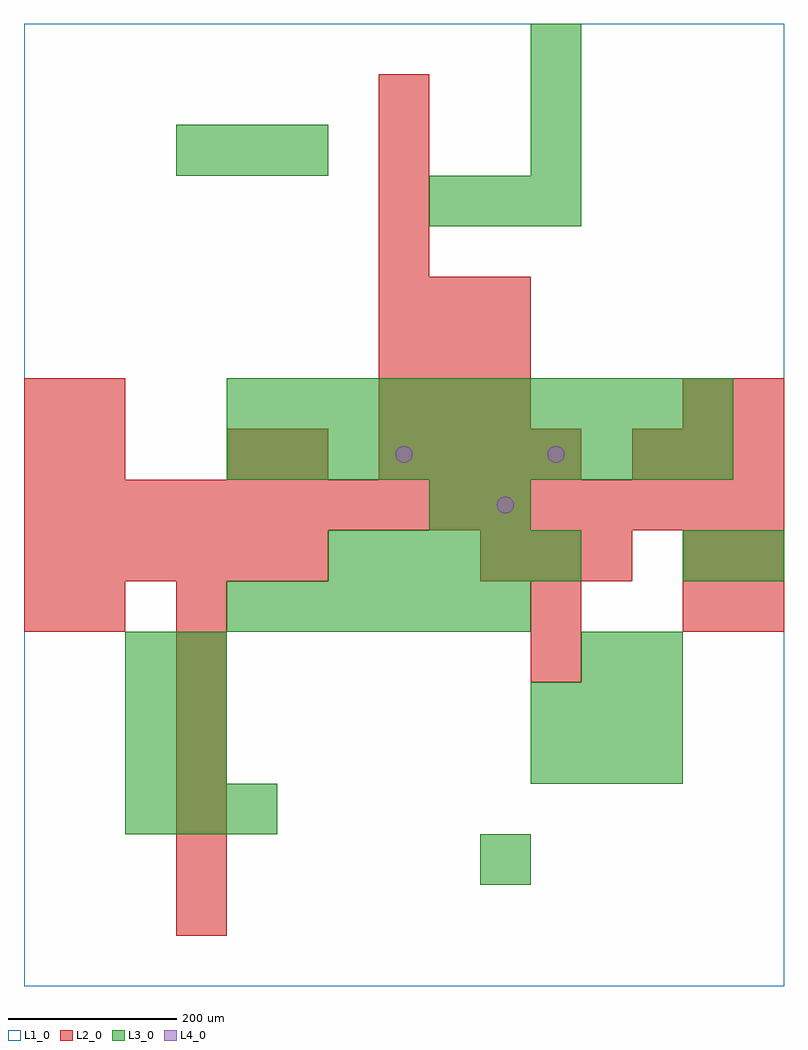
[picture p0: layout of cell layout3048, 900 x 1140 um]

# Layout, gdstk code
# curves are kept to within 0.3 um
import gdstk
lib = gdstk.Library(unit=1e-6, precision=1e-09)
def R(c, l, rs):  # rectangles x0, y0, x1, y1
    for r in rs: c.add(gdstk.rectangle(r[:2], r[2:], *l))
def A(c, l, x, y, w, h, nx, ny, dx, dy):  # array of equal rectangles
    R(c, l, [(x+i*dx, y+j*dy, x+i*dx+w, y+j*dy+h) for i in range(nx) for j in range(ny)])
def P(c, l, *ps):  # polygons
    for p in ps: c.add(gdstk.Polygon(p, *l))
L1_0 = (1, 0)
L2_0 = (2, 0)
L3_0 = (3, 0)
L4_0 = (4, 0)

layout3048 = lib.new_cell('layout3048')
R(layout3048, L1_0, [(0,0,900,1140)])
A(layout3048, L2_0, 180, 60, 60, 60, 1, 7, 0, 60)
A(layout3048, L2_0, 0, 480, 60, 60, 6, 1, 60, 0)
A(layout3048, L2_0, 540, 480, 60, 60, 3, 1, 60, 0)
A(layout3048, L2_0, 0, 540, 60, 60, 15, 1, 60, 0)
A(layout3048, L2_0, 420, 600, 60, 60, 4, 1, 60, 0)
A(layout3048, L2_0, 720, 600, 60, 60, 3, 1, 60, 0)
A(layout3048, L2_0, 420, 660, 60, 60, 3, 3, 60, 60)
A(layout3048, L2_0, 420, 840, 60, 60, 1, 4, 0, 60)
R(layout3048, L2_0, [(600,360,660,420), (0,420,60,480), (60,420,120,480), (600,420,660,480), (780,420,840,480), (840,420,900,480), (780,480,840,540), (840,480,900,540), (0,600,60,660), (60,600,120,660), (240,600,300,660), (300,600,360,660), (0,660,60,720), (60,660,120,720), (780,660,840,720), (840,660,900,720)])
A(layout3048, L3_0, 120, 180, 60, 60, 3, 1, 60, 0)
A(layout3048, L3_0, 120, 240, 60, 60, 1, 3, 0, 60)
A(layout3048, L3_0, 180, 240, 60, 60, 1, 3, 0, 60)
A(layout3048, L3_0, 600, 240, 60, 60, 3, 2, 60, 60)
A(layout3048, L3_0, 240, 420, 60, 60, 6, 1, 60, 0)
A(layout3048, L3_0, 360, 480, 60, 60, 5, 1, 60, 0)
A(layout3048, L3_0, 240, 600, 60, 60, 10, 2, 60, 60)
A(layout3048, L3_0, 480, 900, 60, 60, 3, 1, 60, 0)
A(layout3048, L3_0, 180, 960, 60, 60, 3, 1, 60, 0)
A(layout3048, L3_0, 600, 960, 60, 60, 1, 3, 0, 60)
R(layout3048, L3_0, [(540,120,600,180), (660,360,720,420), (720,360,780,420), (780,480,840,540), (840,480,900,540), (480,540,540,600), (540,540,600,600)])
P(layout3048, L4_0, [(460,630),(459.239,633.827),(457.071,637.071),(453.827,639.239),(450,640),(446.173,639.239),(442.929,637.071),(440.761,633.827),(440,630),(440.761,626.173),(442.929,622.929),(446.173,620.761),(450,620),(453.827,620.761),(457.071,622.929),(459.239,626.173)],
  [(580,570),(579.239,573.827),(577.071,577.071),(573.827,579.239),(570,580),(566.173,579.239),(562.929,577.071),(560.761,573.827),(560,570),(560.761,566.173),(562.929,562.929),(566.173,560.761),(570,560),(573.827,560.761),(577.071,562.929),(579.239,566.173)],
  [(640,630),(639.239,633.827),(637.071,637.071),(633.827,639.239),(630,640),(626.173,639.239),(622.929,637.071),(620.761,633.827),(620,630),(620.761,626.173),(622.929,622.929),(626.173,620.761),(630,620),(633.827,620.761),(637.071,622.929),(639.239,626.173)])

lib.write_gds('layout3048.gds')
